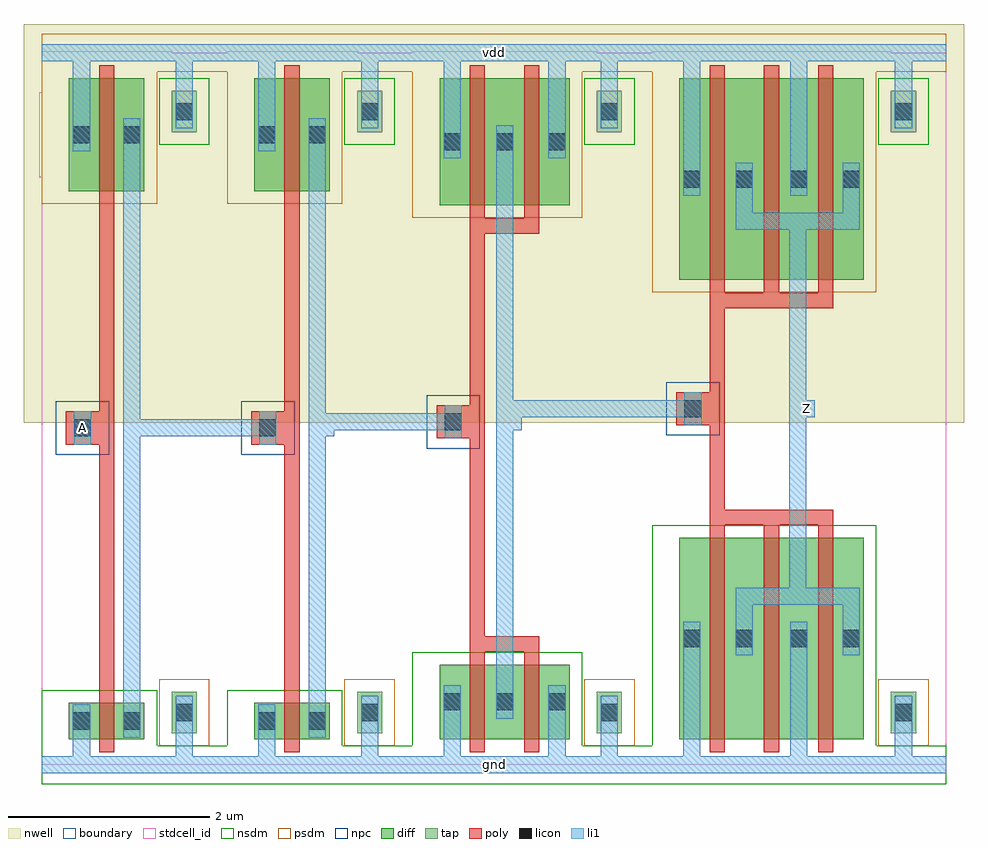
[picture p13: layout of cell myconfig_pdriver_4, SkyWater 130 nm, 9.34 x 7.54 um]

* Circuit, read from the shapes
.subckt myconfig_pdriver_4 A Z gnd vdd
XM1 myconfig_pinv_4_1/A A gnd gnd sky130_fd_pr__nfet_01v8 w=0.36 l=0.15
XM2 myconfig_pinv_10_2/A myconfig_pinv_4_1/A gnd gnd sky130_fd_pr__nfet_01v8 w=0.36 l=0.15
XM3 myconfig_pinv_11_3/A myconfig_pinv_10_2/A gnd gnd sky130_fd_pr__nfet_01v8 w=0.74 l=0.15 m=2
XM4 Z myconfig_pinv_11_3/A gnd gnd sky130_fd_pr__nfet_01v8 w=2 l=0.15 m=3
XM5 myconfig_pinv_4_1/A A vdd vdd sky130_fd_pr__pfet_01v8 w=1.12 l=0.15
XM6 myconfig_pinv_10_2/A myconfig_pinv_4_1/A vdd vdd sky130_fd_pr__pfet_01v8 w=1.12 l=0.15
XM7 myconfig_pinv_11_3/A myconfig_pinv_10_2/A vdd vdd sky130_fd_pr__pfet_01v8 w=1.26 l=0.15 m=2
XM8 Z myconfig_pinv_11_3/A vdd vdd sky130_fd_pr__pfet_01v8 w=2 l=0.15 m=3
.ends

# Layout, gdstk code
import gdstk
lib = gdstk.Library(unit=1e-6, precision=1e-09)
def R(c, l, rs):  # rectangles x0, y0, x1, y1
    for r in rs: c.add(gdstk.rectangle(r[:2], r[2:], *l))
def A(c, l, x, y, w, h, nx, ny, dx, dy):  # array of equal rectangles
    R(c, l, [(x+i*dx, y+j*dy, x+i*dx+w, y+j*dy+h) for i in range(nx) for j in range(ny)])
nwell = (64, 20)
diff = (65, 20)
tap = (65, 44)
poly = (66, 20)
licon = (66, 44)
li1 = (67, 20)
stdcell_id = (81, 4)
nsdm = (93, 44)
psdm = (94, 20)
npc = (95, 20)
boundary = (235, 4)

myconfig_contact_11 = lib.new_cell('myconfig_contact_11')
R(myconfig_contact_11, nwell, [(-0.295,-0.255,0.545,0.585)])
R(myconfig_contact_11, diff, [(0,0.02,0.25,0.31)])
R(myconfig_contact_11, licon, [(0.04,0.08,0.21,0.25)])
R(myconfig_contact_11, li1, [(0.04,0,0.21,0.33)])
R(myconfig_contact_11, stdcell_id, [(-0.295,-0.255,0.545,0.585)])
R(myconfig_contact_11, psdm, [(-0.125,-0.105,0.375,0.435)])
R(myconfig_contact_11, boundary, [(-0.295,-0.255,0.545,0.585)])

myconfig_pmos_m1_w1_120_ = lib.new_cell('myconfig_pmos_m1_w1_120_sli_dli_da_p')
R(myconfig_pmos_m1_w1_120_, nwell, [(-0.27,-0.27,1.02,1.39)])
R(myconfig_pmos_m1_w1_120_, diff, [(0,0,0.75,1.12)])
R(myconfig_pmos_m1_w1_120_, poly, [(0.3,-0.13,0.45,1.25), (0.3,-0.13,0.45,1.25)])
R(myconfig_pmos_m1_w1_120_, li1, [(0.04,0.395,0.21,0.725), (0.54,0.395,0.71,0.725)])
R(myconfig_pmos_m1_w1_120_, stdcell_id, [(-0.27,-0.27,1.02,1.39)])
R(myconfig_pmos_m1_w1_120_, psdm, [(-0.125,-0.125,0.875,1.245)])
R(myconfig_pmos_m1_w1_120_, boundary, [(-0.27,-0.27,1.02,1.39)])
myconfig_pmos_m1_w1_120_.add(gdstk.Reference(myconfig_contact_11, (0,0.395)))
myconfig_pmos_m1_w1_120_.add(gdstk.Reference(myconfig_contact_11, (0.5,0.395)))
myconfig_pmos_m1_w1_120_.add(gdstk.Label('G', (0.375,0.56), layer=66, texttype=5))
myconfig_pmos_m1_w1_120_.add(gdstk.Label('S', (0.125,0.56), layer=67, texttype=5))
myconfig_pmos_m1_w1_120_.add(gdstk.Label('D', (0.625,0.56), layer=67, texttype=5))

myconfig_contact_10 = lib.new_cell('myconfig_contact_10')
R(myconfig_contact_10, diff, [(0,0.02,0.25,0.31)])
R(myconfig_contact_10, licon, [(0.04,0.08,0.21,0.25)])
R(myconfig_contact_10, li1, [(0.04,0,0.21,0.33)])
R(myconfig_contact_10, stdcell_id, [(-0.125,-0.105,0.375,0.435)])
R(myconfig_contact_10, nsdm, [(-0.125,-0.105,0.375,0.435)])
R(myconfig_contact_10, boundary, [(-0.125,-0.105,0.375,0.435)])

myconfig_nmos_m1_w0_360_ = lib.new_cell('myconfig_nmos_m1_w0_360_sli_dli_da_p')
R(myconfig_nmos_m1_w0_360_, diff, [(0,0,0.75,0.36)])
R(myconfig_nmos_m1_w0_360_, poly, [(0.3,-0.13,0.45,0.49), (0.3,-0.13,0.45,0.49)])
R(myconfig_nmos_m1_w0_360_, li1, [(0.04,0.015,0.21,0.345), (0.54,0.015,0.71,0.345)])
R(myconfig_nmos_m1_w0_360_, stdcell_id, [(-0.125,-0.13,0.875,0.49)])
R(myconfig_nmos_m1_w0_360_, nsdm, [(-0.125,-0.125,0.875,0.485)])
R(myconfig_nmos_m1_w0_360_, boundary, [(-0.125,-0.13,0.875,0.49)])
myconfig_nmos_m1_w0_360_.add(gdstk.Reference(myconfig_contact_10, (0,0.015)))
myconfig_nmos_m1_w0_360_.add(gdstk.Reference(myconfig_contact_10, (0.5,0.015)))
myconfig_nmos_m1_w0_360_.add(gdstk.Label('G', (0.375,0.18), layer=66, texttype=5))
myconfig_nmos_m1_w0_360_.add(gdstk.Label('S', (0.125,0.18), layer=67, texttype=5))
myconfig_nmos_m1_w0_360_.add(gdstk.Label('D', (0.625,0.18), layer=67, texttype=5))

myconfig_contact_28 = lib.new_cell('myconfig_contact_28')
R(myconfig_contact_28, nwell, [(-0.295,-0.215,0.545,0.625)])
R(myconfig_contact_28, tap, [(0,0,0.25,0.41)])
R(myconfig_contact_28, licon, [(0.04,0.12,0.21,0.29)])
R(myconfig_contact_28, li1, [(0.04,0.04,0.21,0.37)])
R(myconfig_contact_28, stdcell_id, [(-0.295,-0.215,0.545,0.625)])
R(myconfig_contact_28, nsdm, [(-0.125,-0.125,0.375,0.535)])
R(myconfig_contact_28, boundary, [(-0.295,-0.215,0.545,0.625)])

myconfig_contact_29 = lib.new_cell('myconfig_contact_29')
R(myconfig_contact_29, tap, [(0,0,0.25,0.41)])
R(myconfig_contact_29, licon, [(0.04,0.12,0.21,0.29)])
R(myconfig_contact_29, li1, [(0.04,0.04,0.21,0.37)])
R(myconfig_contact_29, stdcell_id, [(-0.125,-0.125,0.375,0.535)])
R(myconfig_contact_29, psdm, [(-0.125,-0.125,0.375,0.535)])
R(myconfig_contact_29, boundary, [(-0.125,-0.125,0.375,0.535)])

myconfig_contact_15 = lib.new_cell('myconfig_contact_15')
R(myconfig_contact_15, poly, [(0,0,0.33,0.33)])
R(myconfig_contact_15, licon, [(0.08,0.08,0.25,0.25)])
R(myconfig_contact_15, li1, [(0.08,0,0.25,0.33)])
R(myconfig_contact_15, stdcell_id, [(-0.1,-0.1,0.43,0.43)])
R(myconfig_contact_15, npc, [(-0.1,-0.1,0.43,0.43)])
R(myconfig_contact_15, boundary, [(-0.1,-0.1,0.43,0.43)])

myconfig_pinv_4 = lib.new_cell('myconfig_pinv_4')
R(myconfig_pinv_4, nwell, [(-0.18,3.395,2.02,7.355)])
R(myconfig_pinv_4, poly, [(0.57,0.745,0.72,5.565), (0.405,3.18,0.57,3.51)])
R(myconfig_pinv_4, li1, [(0,-0.085,1.84,0.085), (0.31,-0.085,0.48,0.27), (1.33,0,1.5,0.52), (0.81,0.27,0.98,6.42), (0.32,3.18,0.49,3.51), (0.895,3.26,1.065,3.43), (0.31,6.09,0.48,7.155), (1.33,6.485,1.5,7.07), (0,6.985,1.84,7.155)])
R(myconfig_pinv_4, stdcell_id, [(0,0,1.84,7.07), (0,0,1.84,7.07)])
R(myconfig_pinv_4, nsdm, [(0,-0.19,1.84,0.19), (0,0,1.145,0.74)])
R(myconfig_pinv_4, psdm, [(0,5.57,1.145,7.07), (0,6.88,1.84,7.26)])
R(myconfig_pinv_4, boundary, [(0,0,1.84,7.07), (0,0,1.84,7.07)])
myconfig_pinv_4.add(gdstk.Reference(myconfig_pmos_m1_w1_120_, (0.27,5.695)))
myconfig_pinv_4.add(gdstk.Reference(myconfig_nmos_m1_w0_360_, (0.27,0.255)))
myconfig_pinv_4.add(gdstk.Reference(myconfig_contact_28, (1.29,6.28)))
myconfig_pinv_4.add(gdstk.Reference(myconfig_contact_29, (1.29,0.315)))
myconfig_pinv_4.add(gdstk.Reference(myconfig_contact_15, (0.24,3.18)))
myconfig_pinv_4.add(gdstk.Label('A', (0.405,3.345), layer=67, texttype=5))
myconfig_pinv_4.add(gdstk.Label('Z', (0.98,3.345), layer=67, texttype=5))
myconfig_pinv_4.add(gdstk.Label('gnd', (0.92,0), layer=67, texttype=5))
myconfig_pinv_4.add(gdstk.Label('vdd', (0.92,7.07), layer=67, texttype=5))

myconfig_pmos_m2_w1_260_ = lib.new_cell('myconfig_pmos_m2_w1_260_sli_dli_da_p')
R(myconfig_pmos_m2_w1_260_, nwell, [(-0.27,-0.27,1.56,1.53)])
R(myconfig_pmos_m2_w1_260_, diff, [(0,0,1.29,1.26)])
R(myconfig_pmos_m2_w1_260_, poly, [(0.3,-0.28,0.99,-0.13), (0.3,-0.13,0.45,1.39), (0.84,-0.13,0.99,1.39)])
A(myconfig_pmos_m2_w1_260_, li1, 0.04, 0.465, 0.17, 0.33, 3, 1, 0.52, 0)
R(myconfig_pmos_m2_w1_260_, stdcell_id, [(-0.27,-0.28,1.56,1.53)])
R(myconfig_pmos_m2_w1_260_, psdm, [(-0.125,-0.125,1.415,1.385)])
R(myconfig_pmos_m2_w1_260_, boundary, [(-0.27,-0.28,1.56,1.53)])
myconfig_pmos_m2_w1_260_.add(gdstk.Reference(myconfig_contact_11, (0,0.465)))
myconfig_pmos_m2_w1_260_.add(gdstk.Reference(myconfig_contact_11, (0.52,0.465)))
myconfig_pmos_m2_w1_260_.add(gdstk.Reference(myconfig_contact_11, (1.04,0.465)))
myconfig_pmos_m2_w1_260_.add(gdstk.Label('G', (0.645,-0.205), layer=66, texttype=5))
myconfig_pmos_m2_w1_260_.add(gdstk.Label('S', (1.165,0.63), layer=67, texttype=5))
myconfig_pmos_m2_w1_260_.add(gdstk.Label('S', (0.125,0.63), layer=67, texttype=5))
myconfig_pmos_m2_w1_260_.add(gdstk.Label('D', (0.645,0.63), layer=67, texttype=5))

myconfig_nmos_m2_w0_740_ = lib.new_cell('myconfig_nmos_m2_w0_740_sli_dli_da_p')
R(myconfig_nmos_m2_w0_740_, diff, [(0,0,1.29,0.74)])
R(myconfig_nmos_m2_w0_740_, poly, [(0.3,-0.13,0.45,0.87), (0.84,-0.13,0.99,0.87), (0.3,0.87,0.99,1.02)])
A(myconfig_nmos_m2_w0_740_, li1, 0.04, 0.205, 0.17, 0.33, 3, 1, 0.52, 0)
R(myconfig_nmos_m2_w0_740_, stdcell_id, [(-0.125,-0.13,1.415,1.02)])
R(myconfig_nmos_m2_w0_740_, nsdm, [(-0.125,-0.125,1.415,0.865)])
R(myconfig_nmos_m2_w0_740_, boundary, [(-0.125,-0.13,1.415,1.02)])
myconfig_nmos_m2_w0_740_.add(gdstk.Reference(myconfig_contact_10, (0,0.205)))
myconfig_nmos_m2_w0_740_.add(gdstk.Reference(myconfig_contact_10, (0.52,0.205)))
myconfig_nmos_m2_w0_740_.add(gdstk.Reference(myconfig_contact_10, (1.04,0.205)))
myconfig_nmos_m2_w0_740_.add(gdstk.Label('G', (0.645,0.945), layer=66, texttype=5))
myconfig_nmos_m2_w0_740_.add(gdstk.Label('S', (0.125,0.37), layer=67, texttype=5))
myconfig_nmos_m2_w0_740_.add(gdstk.Label('S', (1.165,0.37), layer=67, texttype=5))
myconfig_nmos_m2_w0_740_.add(gdstk.Label('D', (0.645,0.37), layer=67, texttype=5))

myconfig_pinv_10 = lib.new_cell('myconfig_pinv_10')
R(myconfig_pinv_10, nwell, [(-0.18,3.395,2.56,7.355)])
R(myconfig_pinv_10, poly, [(0.57,1.275,0.72,5.275), (0.405,3.24,0.57,3.57)])
R(myconfig_pinv_10, li1, [(0,-0.085,2.38,0.085), (0.31,-0.085,0.48,0.46), (1.35,-0.085,1.52,0.46), (1.87,0,2.04,0.52), (0.83,0.46,1,6.35), (0.32,3.24,0.49,3.57), (0.915,3.32,1.085,3.49), (0.31,6.02,0.48,7.155), (1.35,6.02,1.52,7.155), (1.87,6.485,2.04,7.07), (0,6.985,2.38,7.155)])
R(myconfig_pinv_10, stdcell_id, [(0,0,2.38,7.07), (0,0,2.38,7.07)])
R(myconfig_pinv_10, nsdm, [(0,-0.19,2.38,0.19), (0,0,1.685,1.12)])
R(myconfig_pinv_10, psdm, [(0,5.43,1.685,7.07), (0,6.88,2.38,7.26)])
R(myconfig_pinv_10, boundary, [(0,0,2.38,7.07), (0,0,2.38,7.07)])
myconfig_pinv_10.add(gdstk.Reference(myconfig_pmos_m2_w1_260_, (0.27,5.555)))
myconfig_pinv_10.add(gdstk.Reference(myconfig_nmos_m2_w0_740_, (0.27,0.255)))
myconfig_pinv_10.add(gdstk.Reference(myconfig_contact_28, (1.83,6.28)))
myconfig_pinv_10.add(gdstk.Reference(myconfig_contact_29, (1.83,0.315)))
myconfig_pinv_10.add(gdstk.Reference(myconfig_contact_15, (0.24,3.24)))
myconfig_pinv_10.add(gdstk.Label('A', (0.405,3.405), layer=67, texttype=5))
myconfig_pinv_10.add(gdstk.Label('Z', (1,3.405), layer=67, texttype=5))
myconfig_pinv_10.add(gdstk.Label('gnd', (1.19,0), layer=67, texttype=5))
myconfig_pinv_10.add(gdstk.Label('vdd', (1.19,7.07), layer=67, texttype=5))

myconfig_pmos_m3_w2_000_ = lib.new_cell('myconfig_pmos_m3_w2_000_sli_dli_da_p')
R(myconfig_pmos_m3_w2_000_, nwell, [(-0.27,-0.27,2.1,2.27)])
R(myconfig_pmos_m3_w2_000_, diff, [(0,0,1.83,2)])
A(myconfig_pmos_m3_w2_000_, poly, 0.3, -0.13, 0.15, 2.26, 3, 1, 0.54, 0)
R(myconfig_pmos_m3_w2_000_, poly, [(0.3,-0.28,1.53,-0.13)])
R(myconfig_pmos_m3_w2_000_, li1, [(0.56,0.495,1.79,0.665), (0.56,0.58,0.73,1), (1.62,0.58,1.79,1), (0.04,0.835,0.21,1.165), (1.1,0.835,1.27,1.165)])
R(myconfig_pmos_m3_w2_000_, stdcell_id, [(-0.27,-0.28,2.1,2.27)])
R(myconfig_pmos_m3_w2_000_, psdm, [(-0.125,-0.125,1.955,2.125)])
R(myconfig_pmos_m3_w2_000_, boundary, [(-0.27,-0.28,2.1,2.27)])
myconfig_pmos_m3_w2_000_.add(gdstk.Reference(myconfig_contact_11, (0,0.835)))
myconfig_pmos_m3_w2_000_.add(gdstk.Reference(myconfig_contact_11, (0.52,0.835)))
myconfig_pmos_m3_w2_000_.add(gdstk.Reference(myconfig_contact_11, (1.06,0.835)))
myconfig_pmos_m3_w2_000_.add(gdstk.Reference(myconfig_contact_11, (1.58,0.835)))
myconfig_pmos_m3_w2_000_.add(gdstk.Label('G', (0.915,-0.205), layer=66, texttype=5))
myconfig_pmos_m3_w2_000_.add(gdstk.Label('S', (0.125,1), layer=67, texttype=5))
myconfig_pmos_m3_w2_000_.add(gdstk.Label('S', (1.185,1), layer=67, texttype=5))
myconfig_pmos_m3_w2_000_.add(gdstk.Label('D', (1.175,0.58), layer=67, texttype=5))

myconfig_nmos_m3_w2_000_ = lib.new_cell('myconfig_nmos_m3_w2_000_sli_dli_da_p')
R(myconfig_nmos_m3_w2_000_, diff, [(0,0,1.83,2)])
A(myconfig_nmos_m3_w2_000_, poly, 0.3, -0.13, 0.15, 2.26, 3, 1, 0.54, 0)
R(myconfig_nmos_m3_w2_000_, poly, [(0.3,2.13,1.53,2.28)])
R(myconfig_nmos_m3_w2_000_, li1, [(0.04,0.835,0.21,1.165), (1.1,0.835,1.27,1.165), (0.56,1,0.73,1.42), (1.62,1,1.79,1.42), (0.56,1.335,1.79,1.505)])
R(myconfig_nmos_m3_w2_000_, stdcell_id, [(-0.125,-0.13,1.955,2.28)])
R(myconfig_nmos_m3_w2_000_, nsdm, [(-0.125,-0.125,1.955,2.125)])
R(myconfig_nmos_m3_w2_000_, boundary, [(-0.125,-0.13,1.955,2.28)])
myconfig_nmos_m3_w2_000_.add(gdstk.Reference(myconfig_contact_10, (0,0.835)))
myconfig_nmos_m3_w2_000_.add(gdstk.Reference(myconfig_contact_10, (0.52,0.835)))
myconfig_nmos_m3_w2_000_.add(gdstk.Reference(myconfig_contact_10, (1.06,0.835)))
myconfig_nmos_m3_w2_000_.add(gdstk.Reference(myconfig_contact_10, (1.58,0.835)))
myconfig_nmos_m3_w2_000_.add(gdstk.Label('G', (0.915,2.205), layer=66, texttype=5))
myconfig_nmos_m3_w2_000_.add(gdstk.Label('S', (0.125,1), layer=67, texttype=5))
myconfig_nmos_m3_w2_000_.add(gdstk.Label('S', (1.185,1), layer=67, texttype=5))
myconfig_nmos_m3_w2_000_.add(gdstk.Label('D', (1.175,1.42), layer=67, texttype=5))

myconfig_pinv_11 = lib.new_cell('myconfig_pinv_11')
R(myconfig_pinv_11, nwell, [(-0.18,3.395,3.1,7.355)])
R(myconfig_pinv_11, poly, [(0.57,2.535,0.72,4.535), (0.405,3.37,0.57,3.7)])
R(myconfig_pinv_11, li1, [(0,-0.085,2.92,0.085), (0.31,-0.085,0.48,1.09), (1.37,-0.085,1.54,1.09), (2.41,0,2.58,0.52), (1.36,1.59,1.53,5.48), (0.32,3.37,0.49,3.7), (1.445,3.45,1.615,3.62), (0.31,5.65,0.48,7.155), (1.37,5.65,1.54,7.155), (2.41,6.485,2.58,7.07), (0,6.985,2.92,7.155)])
R(myconfig_pinv_11, stdcell_id, [(0,0,2.92,7.07), (0,0,2.92,7.07)])
R(myconfig_pinv_11, nsdm, [(0,-0.19,2.92,0.19), (0,0,2.225,2.38)])
R(myconfig_pinv_11, psdm, [(0,4.69,2.225,7.07), (0,6.88,2.92,7.26)])
R(myconfig_pinv_11, boundary, [(0,0,2.92,7.07), (0,0,2.92,7.07)])
myconfig_pinv_11.add(gdstk.Reference(myconfig_pmos_m3_w2_000_, (0.27,4.815)))
myconfig_pinv_11.add(gdstk.Reference(myconfig_nmos_m3_w2_000_, (0.27,0.255)))
myconfig_pinv_11.add(gdstk.Reference(myconfig_contact_28, (2.37,6.28)))
myconfig_pinv_11.add(gdstk.Reference(myconfig_contact_29, (2.37,0.315)))
myconfig_pinv_11.add(gdstk.Reference(myconfig_contact_15, (0.24,3.37)))
myconfig_pinv_11.add(gdstk.Label('A', (0.405,3.535), layer=67, texttype=5))
myconfig_pinv_11.add(gdstk.Label('Z', (1.53,3.535), layer=67, texttype=5))
myconfig_pinv_11.add(gdstk.Label('gnd', (1.46,0), layer=67, texttype=5))
myconfig_pinv_11.add(gdstk.Label('vdd', (1.46,7.07), layer=67, texttype=5))

myconfig_pdriver_4 = lib.new_cell('myconfig_pdriver_4')
R(myconfig_pdriver_4, nwell, [(-0.18,3.395,9.16,7.355)])
R(myconfig_pdriver_4, li1, [(0,-0.085,8.98,0.085), (0.32,3.18,0.49,3.51), (0.98,3.26,2.245,3.43), (2.735,3.32,2.905,3.49), (2.82,3.32,4.085,3.49), (2.735,3.345,2.905,3.405), (4.595,3.405,4.765,3.535), (4.595,3.45,4.765,3.62), (4.68,3.45,6.465,3.62), (7.505,3.45,7.675,3.62), (0,6.985,8.98,7.155)])
R(myconfig_pdriver_4, stdcell_id, [(0,0,8.98,7.07), (0,0,8.98,7.07)])
R(myconfig_pdriver_4, nsdm, [(0,-0.19,8.98,0.19)])
R(myconfig_pdriver_4, psdm, [(0,6.88,8.98,7.26)])
R(myconfig_pdriver_4, boundary, [(0,0,8.98,7.07), (0,0,8.98,7.07)])
myconfig_pdriver_4.add(gdstk.Reference(myconfig_pinv_4, (0,0)))
myconfig_pdriver_4.add(gdstk.Reference(myconfig_pinv_4, (1.84,0)))
myconfig_pdriver_4.add(gdstk.Reference(myconfig_pinv_10, (3.68,0)))
myconfig_pdriver_4.add(gdstk.Reference(myconfig_pinv_11, (6.06,0)))
myconfig_pdriver_4.add(gdstk.Label('Z', (7.59,3.535), layer=67, texttype=5))
myconfig_pdriver_4.add(gdstk.Label('A', (0.405,3.345), layer=67, texttype=5))
myconfig_pdriver_4.add(gdstk.Label('gnd', (4.49,0), layer=67, texttype=5))
myconfig_pdriver_4.add(gdstk.Label('vdd', (4.49,7.07), layer=67, texttype=5))

lib.write_gds('myconfig_pdriver_4.gds')
